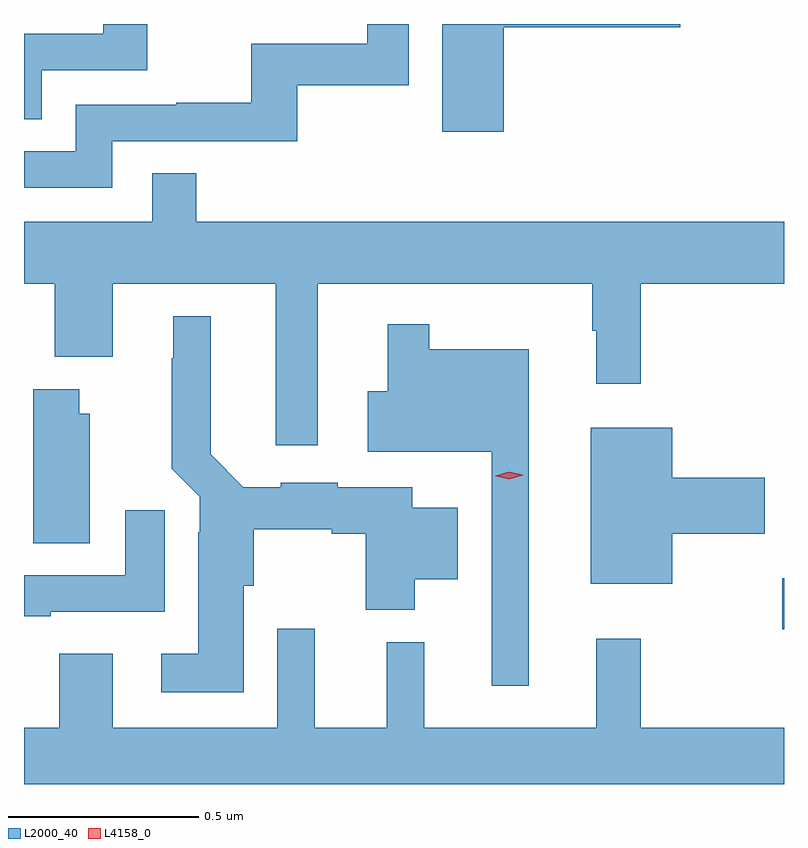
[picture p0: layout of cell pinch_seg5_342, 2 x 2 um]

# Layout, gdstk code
import gdstk
lib = gdstk.Library(unit=1e-6, precision=1e-09)
def R(c, l, rs):  # rectangles x0, y0, x1, y1
    for r in rs: c.add(gdstk.rectangle(r[:2], r[2:], *l))
def P(c, l, *ps):  # polygons
    for p in ps: c.add(gdstk.Polygon(p, *l))
L2000_40 = (2000, 40)
L4158_0 = (4158, 0)

pinch_seg5_342 = lib.new_cell('pinch_seg5_342')
R(pinch_seg5_342, L2000_40, [(907.26,881.159,907.264,881.294)])
P(pinch_seg5_342, L2000_40, [(906.526,882.743),(906.991,882.743),(906.991,882.752),(906.365,882.752),(906.365,882.468),(906.526,882.468)],
  [(905.311,882.63),(905.588,882.63),(905.588,882.752),(905.472,882.752),(905.472,882.726),(905.264,882.726),(905.264,882.502),(905.311,882.502)],
  [(905.496,882.444),(905.983,882.444),(905.983,882.591),(906.276,882.591),(906.276,882.752),(906.167,882.752),(906.167,882.7),(905.862,882.7),(905.862,882.545),(905.665,882.545),(905.665,882.54),(905.4,882.54),(905.4,882.417),(905.264,882.417),(905.264,882.321),(905.496,882.321)],
  [(906.037,882.068),(906.759,882.068),(906.759,881.945),(906.77,881.945),(906.77,881.805),(906.887,881.805),(906.887,882.068),(907.264,882.068),(907.264,882.232),(905.717,882.232),(905.717,882.359),(905.601,882.359),(905.601,882.232),(905.264,882.232),(905.264,882.068),(905.345,882.068),(905.345,881.876),(905.497,881.876),(905.497,882.068),(905.927,882.068),(905.927,881.643),(906.037,881.643)],
  [(905.842,881.274),(905.868,881.274),(905.868,881.423),(906.074,881.423),(906.074,881.411),(906.163,881.411),(906.163,881.21),(906.292,881.21),(906.292,881.291),(906.406,881.291),(906.406,881.479),(906.286,881.479),(906.286,881.533),(906.09,881.533),(906.09,881.545),(905.94,881.545),(905.94,881.533),(905.841,881.533),(905.755,881.62),(905.755,881.983),(905.657,881.983),(905.657,881.873),(905.653,881.873),(905.653,881.582),(905.727,881.508),(905.727,881.414),(905.723,881.414),(905.723,881.095),(905.625,881.095),(905.625,880.994),(905.842,880.994)],
  [(906.592,881.896),(906.331,881.896),(906.331,881.962),(906.221,881.962),(906.221,881.785),(906.168,881.785),(906.168,881.627),(906.495,881.627),(906.495,881.01),(906.592,881.01)],
  [(905.437,881.727),(905.41,881.727),(905.41,881.791),(905.288,881.791),(905.288,881.386),(905.437,881.386)],
  [(906.97,881.411),(907.213,881.411),(907.213,881.558),(906.97,881.558),(906.97,881.689),(906.755,881.689),(906.755,881.279),(906.97,881.279)],
  [(905.335,881.205),(905.635,881.205),(905.635,881.473),(905.531,881.473),(905.531,881.301),(905.264,881.301),(905.264,881.193),(905.335,881.193)],
  [(907.264,880.9),(906.887,880.9),(906.887,881.134),(906.77,881.134),(906.77,880.9),(906.317,880.9),(906.317,881.125),(906.218,881.125),(906.218,880.9),(906.029,880.9),(906.029,881.161),(905.931,881.161),(905.931,880.9),(905.497,880.9),(905.497,881.095),(905.357,881.095),(905.357,880.9),(905.264,880.9),(905.264,880.752),(907.264,880.752)])
P(pinch_seg5_342, L4158_0, [(906.541,881.554),(906.506,881.562),(906.505,881.563),(906.506,881.563),(906.54,881.574),(906.576,881.566),(906.576,881.565),(906.576,881.565)])

lib.write_gds('pinch_seg5_342.gds')
